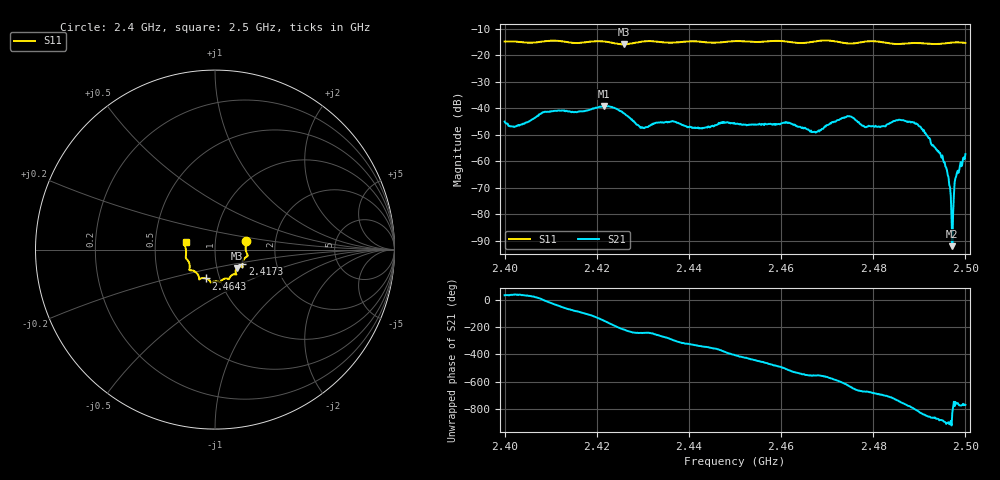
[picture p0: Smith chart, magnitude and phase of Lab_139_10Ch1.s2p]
# Hz S RI R 50
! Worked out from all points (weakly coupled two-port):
!   601 points, 2.4 GHz to 2.5 GHz, reference 50 ohm
!   highest |S21| = -39.24 dB at 2.4215 GHz (marker M1); lowest = -92.0 dB at 2.4972 GHz (marker M2)
!   lowest |S11| = -16.0 dB at 2.4258 GHz (marker M3), VSWR 1.38, Z = 62.3 - j13.2 ohm
!   |S11| at or under -10 dB: start of sweep to end of sweep
!   S12 and S22 are empty: the file has one direction only
!   S11 on the Smith chart (normalised r, x): 2.4 GHz: 1.41, +0.14; 2.4173 GHz: 1.34, -0.23; 2.4643 GHz: 0.86, -0.28; 2.5 GHz: 0.72, +0.06
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2.4e9  0.1729 0.0488  0.00477 0.00289  0 0  0 0
2.402e9  0.1758 0.0406  0.00362 0.00257  0 0  0 0
2.408667e9  0.18 -0.0267  0.00847 -0.00107  0 0  0 0
2.416667e9  0.1531 -0.0745  -0.000748 -0.00863  0 0  0 0
2.417333e9  0.1523 -0.0821  -0.00176 -0.00857  0 0  0 0
2.4215e9  0.1528 -0.0965  -0.00977 -0.00487  0 0  0 0
2.425833e9  0.1215 -0.1031  -0.00628 0.00507  0 0  0 0
2.429833e9  0.1173 -0.1355  -0.00182 0.00386  0 0  0 0
2.433333e9  0.1129 -0.1373  -0.000877 0.00529  0 0  0 0
2.45e9  0.0287 -0.1808  0.00351 -0.00364  0 0  0 0
2.464333e9  -0.05 -0.1607  -0.0043 2.57e-05  0 0  0 0
2.466667e9  -0.076 -0.1592  -0.00339 0.000974  0 0  0 0
2.474667e9  -0.1031 -0.1293  -0.000102 0.00701  0 0  0 0
2.478167e9  -0.1365 -0.1152  0.00284 0.00335  0 0  0 0
2.483333e9  -0.1409 -0.09  0.00494 0.00111  0 0  0 0
2.4905e9  -0.1627 -0.0378  -0.00142 -0.00381  0 0  0 0
2.495e9  -0.1637 0.00972  -0.00122 -0.000404  0 0  0 0
2.496e9  -0.1667 0.0196  -0.000672 -7.65e-06  0 0  0 0
2.496833e9  -0.1692 0.0259  -0.000211 -5.69e-05  0 0  0 0
2.497167e9  -0.1699 0.0279  -5.12e-06 -2.45e-05  0 0  0 0
2.498167e9  -0.1705 0.0332  0.000486 -0.000356  0 0  0 0
2.5e9  -0.1641 0.0427  0.000906 -0.00101  0 0  0 0
